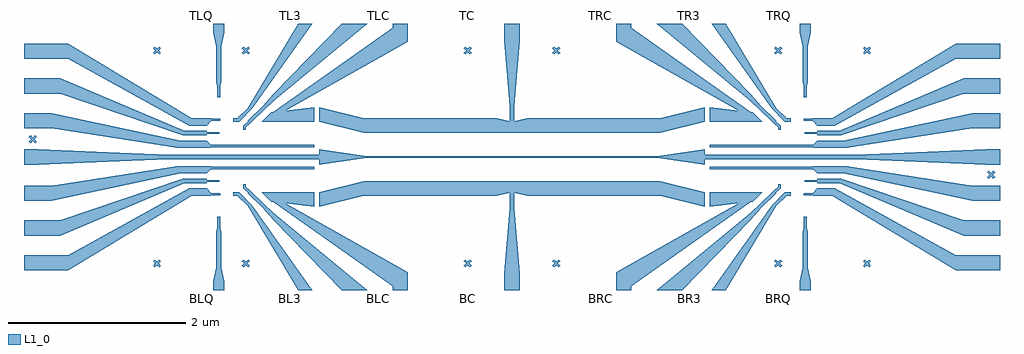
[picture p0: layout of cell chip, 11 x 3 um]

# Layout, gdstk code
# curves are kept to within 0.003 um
import gdstk
lib = gdstk.Library(unit=1e-6, precision=1e-09)
def P(c, l, *ps):  # polygons
    for p in ps: c.add(gdstk.Polygon(p, *l))
L1_0 = (1, 0)

chip = lib.new_cell('chip')
P(chip, L1_0, [(-5.426,0.156),(-5.444,0.174),(-5.418,0.2),(-5.444,0.226),(-5.426,0.244),(-5.4,0.218),(-5.374,0.244),(-5.356,0.226),(-5.382,0.2),(-5.356,0.174),(-5.374,0.156),(-5.4,0.182)],
  [(-4.026,1.156),(-4.044,1.174),(-4.018,1.2),(-4.044,1.226),(-4.026,1.244),(-4,1.218),(-3.974,1.244),(-3.956,1.226),(-3.982,1.2),(-3.956,1.174),(-3.974,1.156),(-4,1.182)],
  [(-3.026,1.156),(-3.044,1.174),(-3.018,1.2),(-3.044,1.226),(-3.026,1.244),(-3,1.218),(-2.974,1.244),(-2.956,1.226),(-2.982,1.2),(-2.956,1.174),(-2.974,1.156),(-3,1.182)],
  [(-0.526,1.156),(-0.544,1.174),(-0.518,1.2),(-0.544,1.226),(-0.526,1.244),(-0.5,1.218),(-0.474,1.244),(-0.456,1.226),(-0.482,1.2),(-0.456,1.174),(-0.474,1.156),(-0.5,1.182)],
  [(3.974,1.156),(3.956,1.174),(3.982,1.2),(3.956,1.226),(3.974,1.244),(4,1.218),(4.026,1.244),(4.044,1.226),(4.018,1.2),(4.044,1.174),(4.026,1.156),(4,1.182)],
  [(2.974,1.156),(2.956,1.174),(2.982,1.2),(2.956,1.226),(2.974,1.244),(3,1.218),(3.026,1.244),(3.044,1.226),(3.018,1.2),(3.044,1.174),(3.026,1.156),(3,1.182)],
  [(0.474,1.156),(0.456,1.174),(0.482,1.2),(0.456,1.226),(0.474,1.244),(0.5,1.218),(0.526,1.244),(0.544,1.226),(0.518,1.2),(0.544,1.174),(0.526,1.156),(0.5,1.182)],
  [(-4.026,-1.244),(-4.044,-1.226),(-4.018,-1.2),(-4.044,-1.174),(-4.026,-1.156),(-4,-1.182),(-3.974,-1.156),(-3.956,-1.174),(-3.982,-1.2),(-3.956,-1.226),(-3.974,-1.244),(-4,-1.218)],
  [(-3.026,-1.244),(-3.044,-1.226),(-3.018,-1.2),(-3.044,-1.174),(-3.026,-1.156),(-3,-1.182),(-2.974,-1.156),(-2.956,-1.174),(-2.982,-1.2),(-2.956,-1.226),(-2.974,-1.244),(-3,-1.218)],
  [(-0.526,-1.244),(-0.544,-1.226),(-0.518,-1.2),(-0.544,-1.174),(-0.526,-1.156),(-0.5,-1.182),(-0.474,-1.156),(-0.456,-1.174),(-0.482,-1.2),(-0.456,-1.226),(-0.474,-1.244),(-0.5,-1.218)],
  [(3.974,-1.244),(3.956,-1.226),(3.982,-1.2),(3.956,-1.174),(3.974,-1.156),(4,-1.182),(4.026,-1.156),(4.044,-1.174),(4.018,-1.2),(4.044,-1.226),(4.026,-1.244),(4,-1.218)],
  [(2.974,-1.244),(2.956,-1.226),(2.982,-1.2),(2.956,-1.174),(2.974,-1.156),(3,-1.182),(3.026,-1.156),(3.044,-1.174),(3.018,-1.2),(3.044,-1.226),(3.026,-1.244),(3,-1.218)],
  [(0.474,-1.244),(0.456,-1.226),(0.482,-1.2),(0.456,-1.174),(0.474,-1.156),(0.5,-1.182),(0.526,-1.156),(0.544,-1.174),(0.518,-1.2),(0.544,-1.226),(0.526,-1.244),(0.5,-1.218)],
  [(5.374,-0.244),(5.356,-0.226),(5.382,-0.2),(5.356,-0.174),(5.374,-0.156),(5.4,-0.182),(5.426,-0.156),(5.444,-0.174),(5.418,-0.2),(5.444,-0.226),(5.426,-0.244),(5.4,-0.218)],
  [(-3.365,-1.5),(-3.365,-1.4),(-3.335,-1.25),(-3.335,-0.85),(-3.32,-0.8),(-3.32,-0.675),(-3.29,-0.675),(-3.29,-0.8),(-3.275,-0.85),(-3.275,-1.25),(-3.245,-1.4),(-3.245,-1.5)],
  [(3.245,-1.5),(3.245,-1.4),(3.275,-1.25),(3.275,-0.85),(3.29,-0.8),(3.29,-0.675),(3.32,-0.675),(3.32,-0.8),(3.335,-0.85),(3.335,-1.25),(3.365,-1.4),(3.365,-1.5)],
  [(-1.345,-1.5),(-1.345,-1.458),(-2.685,-0.508),(-2.716,-0.504),(-2.82,-0.4),(-2.23,-0.4),(-2.23,-0.56),(-2.557,-0.522),(-1.175,-1.3),(-1.175,-1.5)],
  [(1.175,-1.5),(1.175,-1.3),(2.557,-0.522),(2.23,-0.56),(2.23,-0.4),(2.82,-0.4),(2.716,-0.504),(2.685,-0.508),(1.345,-1.458),(1.345,-1.5)],
  [(-2.409,-1.5),(-2.98,-0.55),(-3.095,-0.435),(-3.14,-0.435),(-3.14,-0.395),(-3.091,-0.395),(-3.083,-0.397),(-3.076,-0.4),(-3.07,-0.404),(-2.925,-0.549),(-2.25,-1.5)],
  [(2.25,-1.5),(2.925,-0.549),(3.07,-0.404),(3.076,-0.4),(3.083,-0.397),(3.091,-0.395),(3.14,-0.395),(3.14,-0.435),(3.095,-0.435),(2.98,-0.55),(2.409,-1.5)],
  [(-5.5,-1.275),(-5.5,-1.105),(-5,-1.105),(-3.64,-0.355),(-3.44,-0.355),(-3.395,-0.405),(-3.395,-0.41),(-3.29,-0.41),(-3.29,-0.43),(-3.395,-0.43),(-3.395,-0.435),(-3.61,-0.435),(-5,-1.275)],
  [(5,-1.275),(3.61,-0.435),(3.395,-0.435),(3.395,-0.43),(3.29,-0.43),(3.29,-0.41),(3.395,-0.41),(3.395,-0.405),(3.44,-0.355),(3.64,-0.355),(5,-1.105),(5.5,-1.105),(5.5,-1.275)],
  [(-1.92,-1.5),(-2.692,-0.705),(-2.806,-0.577),(-2.976,-0.407),(-2.973,-0.404),(-3.03,-0.352),(-3.03,-0.305),(-3,-0.305),(-3,-0.338),(-2.952,-0.383),(-2.948,-0.379),(-2.778,-0.549),(-2.65,-0.663),(-1.632,-1.5)],
  [(1.632,-1.5),(2.65,-0.663),(2.778,-0.549),(2.948,-0.379),(2.952,-0.383),(3,-0.338),(3,-0.305),(3.03,-0.305),(3.03,-0.352),(2.973,-0.404),(2.976,-0.407),(2.806,-0.577),(2.692,-0.705),(1.919,-1.5)],
  [(-0.088,-1.5),(-0.085,-1.31),(-0.025,-0.58),(-0.025,-0.401),(-0.17,-0.435),(-1.67,-0.435),(-2.17,-0.56),(-2.17,-0.4),(-1.67,-0.275),(1.67,-0.275),(2.17,-0.4),(2.17,-0.56),(1.67,-0.435),(0.17,-0.435),(0.025,-0.401),(0.025,-0.58),(0.085,-1.31),(0.088,-1.5)],
  [(-5.5,-0.885),(-5.5,-0.715),(-5.09,-0.715),(-3.71,-0.245),(-3.44,-0.245),(-3.44,-0.26),(-3.3,-0.26),(-3.3,-0.28),(-3.44,-0.28),(-3.44,-0.295),(-3.692,-0.295),(-5.09,-0.885)],
  [(5.09,-0.885),(3.692,-0.295),(3.44,-0.295),(3.44,-0.28),(3.3,-0.28),(3.3,-0.26),(3.44,-0.26),(3.44,-0.245),(3.71,-0.245),(5.09,-0.715),(5.5,-0.715),(5.5,-0.885)],
  [(-5.5,-0.495),(-5.5,-0.325),(-5.19,-0.325),(-3.78,-0.105),(-3.395,-0.105),(-3.395,-0.11),(-2.231,-0.11),(-2.231,-0.14),(-3.395,-0.14),(-3.44,-0.185),(-3.735,-0.185),(-5.19,-0.495)],
  [(5.19,-0.495),(3.735,-0.185),(3.44,-0.185),(3.395,-0.14),(2.231,-0.14),(2.231,-0.11),(3.395,-0.11),(3.395,-0.105),(3.78,-0.105),(5.19,-0.325),(5.5,-0.325),(5.5,-0.495)],
  [(-5.5,-0.085),(-5.5,0.085),(-5.34,0.085),(-3.86,0.025),(-2.17,0.025),(-2.17,0.085),(-1.67,0.015),(-1.67,0.01),(1.67,0.01),(1.67,0.015),(2.17,0.085),(2.17,0.025),(3.86,0.025),(5.34,0.085),(5.5,0.085),(5.5,-0.085),(5.34,-0.085),(3.86,-0.025),(2.17,-0.025),(2.17,-0.085),(1.67,-0.015),(1.67,-0.01),(-1.67,-0.01),(-1.67,-0.015),(-2.17,-0.085),(-2.17,-0.025),(-3.86,-0.025),(-5.34,-0.085)],
  [(-3.78,0.105),(-5.19,0.325),(-5.5,0.325),(-5.5,0.495),(-5.19,0.495),(-3.735,0.185),(-3.44,0.185),(-3.395,0.14),(-2.231,0.14),(-2.231,0.11),(-3.395,0.11),(-3.395,0.105)],
  [(3.395,0.105),(3.395,0.11),(2.231,0.11),(2.231,0.14),(3.395,0.14),(3.44,0.185),(3.735,0.185),(5.19,0.495),(5.5,0.495),(5.5,0.325),(5.19,0.325),(3.78,0.105)],
  [(-3.71,0.245),(-5.09,0.715),(-5.5,0.715),(-5.5,0.885),(-5.09,0.885),(-3.692,0.295),(-3.44,0.295),(-3.44,0.28),(-3.3,0.28),(-3.3,0.26),(-3.44,0.26),(-3.44,0.245)],
  [(3.44,0.245),(3.44,0.26),(3.3,0.26),(3.3,0.28),(3.44,0.28),(3.44,0.295),(3.692,0.295),(5.09,0.885),(5.5,0.885),(5.5,0.715),(5.09,0.715),(3.71,0.245)],
  [(-3.64,0.355),(-5,1.105),(-5.5,1.105),(-5.5,1.275),(-5,1.275),(-3.61,0.435),(-3.395,0.435),(-3.395,0.43),(-3.29,0.43),(-3.29,0.41),(-3.395,0.41),(-3.395,0.405),(-3.44,0.355)],
  [(3.44,0.355),(3.395,0.405),(3.395,0.41),(3.29,0.41),(3.29,0.43),(3.395,0.43),(3.395,0.435),(3.61,0.435),(5,1.275),(5.5,1.275),(5.5,1.105),(5,1.105),(3.64,0.355)],
  [(-3.32,0.675),(-3.32,0.8),(-3.335,0.85),(-3.335,1.25),(-3.365,1.4),(-3.365,1.5),(-3.245,1.5),(-3.245,1.4),(-3.275,1.25),(-3.275,0.85),(-3.29,0.8),(-3.29,0.675)],
  [(-3.14,0.395),(-3.14,0.435),(-3.095,0.435),(-2.98,0.55),(-2.409,1.5),(-2.25,1.5),(-2.925,0.549),(-3.07,0.404),(-3.076,0.4),(-3.083,0.397),(-3.091,0.395)],
  [(-3.03,0.305),(-3.03,0.352),(-2.973,0.404),(-2.976,0.407),(-2.806,0.577),(-2.692,0.705),(-1.92,1.5),(-1.632,1.5),(-2.65,0.663),(-2.778,0.549),(-2.948,0.379),(-2.952,0.383),(-3,0.338),(-3,0.305)],
  [(-2.82,0.4),(-2.716,0.504),(-2.685,0.508),(-1.345,1.458),(-1.345,1.5),(-1.175,1.5),(-1.175,1.3),(-2.557,0.522),(-2.23,0.56),(-2.23,0.4)],
  [(-1.67,0.275),(-2.17,0.4),(-2.17,0.56),(-1.67,0.435),(-0.17,0.435),(-0.025,0.401),(-0.025,0.58),(-0.085,1.31),(-0.088,1.5),(0.088,1.5),(0.085,1.31),(0.025,0.58),(0.025,0.401),(0.17,0.435),(1.67,0.435),(2.17,0.56),(2.17,0.4),(1.67,0.275)],
  [(2.23,0.4),(2.23,0.56),(2.557,0.522),(1.175,1.3),(1.175,1.5),(1.345,1.5),(1.345,1.458),(2.685,0.508),(2.716,0.504),(2.82,0.4)],
  [(3,0.305),(3,0.338),(2.952,0.383),(2.948,0.379),(2.778,0.549),(2.65,0.663),(1.632,1.5),(1.919,1.5),(2.692,0.705),(2.806,0.577),(2.976,0.407),(2.973,0.404),(3.03,0.352),(3.03,0.305)],
  [(3.091,0.395),(3.083,0.397),(3.076,0.4),(3.07,0.404),(2.925,0.549),(2.25,1.5),(2.409,1.5),(2.98,0.55),(3.095,0.435),(3.14,0.435),(3.14,0.395)],
  [(3.29,0.675),(3.29,0.8),(3.275,0.85),(3.275,1.25),(3.245,1.4),(3.245,1.5),(3.365,1.5),(3.365,1.4),(3.335,1.25),(3.335,0.85),(3.32,0.8),(3.32,0.675)])
chip.add(gdstk.Label('RF_Output', (-6,-2.5), layer=1, texttype=0))
chip.add(gdstk.Label('RF_Power', (-2.5,-2.5), layer=1, texttype=0))
chip.add(gdstk.Label('RF_Frequency', (1,-2.5), layer=1, texttype=0))
chip.add(gdstk.Label('RF_Output', (4.5,-2.5), layer=1, texttype=0))
chip.add(gdstk.Label('RF_Pulse_Period', (-6,-3), layer=1, texttype=0))
chip.add(gdstk.Label('RF_Pulse_Width', (-2.5,-3), layer=1, texttype=0))
chip.add(gdstk.Label('RF_Pulse_Delay', (1,-3), layer=1, texttype=0))
chip.add(gdstk.Label('RF_Pulse_Mod', (4.5,-3), layer=1, texttype=0))
chip.add(gdstk.Label('LO', (-7,0.2), layer=1, texttype=0))
chip.add(gdstk.Label('TCW', (-7,0), layer=1, texttype=0))
chip.add(gdstk.Label('BL1', (-7,-0.4), layer=1, texttype=0))
chip.add(gdstk.Label('BL2', (-7,-1.2), layer=1, texttype=0))
chip.add(gdstk.Label('TRP', (6,0.8), layer=1, texttype=0))
chip.add(gdstk.Label('TR1', (6,0.4), layer=1, texttype=0))
chip.add(gdstk.Label('TR2', (6,1.2), layer=1, texttype=0))
chip.add(gdstk.Label('TL2', (-7,1.2), layer=1, texttype=0))
chip.add(gdstk.Label('TL1', (-7,0.4), layer=1, texttype=0))
chip.add(gdstk.Label('BRP', (6,-0.8), layer=1, texttype=0))
chip.add(gdstk.Label('BR2', (6,-1.2), layer=1, texttype=0))
chip.add(gdstk.Label('BR1', (6,-0.4), layer=1, texttype=0))
chip.add(gdstk.Label('TCW', (6,0), layer=1, texttype=0))
chip.add(gdstk.Label('TLP', (-7,0.8), layer=1, texttype=0))
chip.add(gdstk.Label('TLO3', (-5,1.9), layer=1, texttype=0))
chip.add(gdstk.Label('TLQ', (-3.5,1.6), layer=1, texttype=0))
chip.add(gdstk.Label('TLO2', (-3,1.9), layer=1, texttype=0))
chip.add(gdstk.Label('TL4', (-2,1.9), layer=1, texttype=0))
chip.add(gdstk.Label('TL3', (-2.5,1.6), layer=1, texttype=0))
chip.add(gdstk.Label('TLC', (-1.5,1.6), layer=1, texttype=0))
chip.add(gdstk.Label('BLO3', (-5,-1.9), layer=1, texttype=0))
chip.add(gdstk.Label('BLQ', (-3.5,-1.6), layer=1, texttype=0))
chip.add(gdstk.Label('BLO2', (-3,-1.9), layer=1, texttype=0))
chip.add(gdstk.Label('BL4', (-2,-1.9), layer=1, texttype=0))
chip.add(gdstk.Label('BL3', (-2.5,-1.6), layer=1, texttype=0))
chip.add(gdstk.Label('BLC', (-1.5,-1.6), layer=1, texttype=0))
chip.add(gdstk.Label('TRO3', (4.5,1.9), layer=1, texttype=0))
chip.add(gdstk.Label('TRQ', (3,1.6), layer=1, texttype=0))
chip.add(gdstk.Label('TRO2', (2.5,1.9), layer=1, texttype=0))
chip.add(gdstk.Label('TR4', (1.5,1.9), layer=1, texttype=0))
chip.add(gdstk.Label('TR3', (2,1.6), layer=1, texttype=0))
chip.add(gdstk.Label('TRC', (1,1.6), layer=1, texttype=0))
chip.add(gdstk.Label('BRO3', (4.5,-1.9), layer=1, texttype=0))
chip.add(gdstk.Label('BRQ', (3,-1.6), layer=1, texttype=0))
chip.add(gdstk.Label('BRO2', (2.5,-1.9), layer=1, texttype=0))
chip.add(gdstk.Label('BR4', (1.5,-1.9), layer=1, texttype=0))
chip.add(gdstk.Label('BR3', (2,-1.6), layer=1, texttype=0))
chip.add(gdstk.Label('BRC', (1,-1.6), layer=1, texttype=0))
chip.add(gdstk.Label('BLP', (-7,-0.8), layer=1, texttype=0))
chip.add(gdstk.Label('RO', (6,-0.2), layer=1, texttype=0))
chip.add(gdstk.Label('TC', (-0.5,1.6), layer=1, texttype=0))
chip.add(gdstk.Label('BC', (-0.5,-1.6), layer=1, texttype=0))
chip.add(gdstk.Label('TLO1', (-1,1.9), layer=1, texttype=0))
chip.add(gdstk.Label('TRO1', (0.5,1.9), layer=1, texttype=0))
chip.add(gdstk.Label('BLO1', (-1,-1.9), layer=1, texttype=0))
chip.add(gdstk.Label('BRO1', (0.5,-1.9), layer=1, texttype=0))

lib.write_gds('chip.gds')
